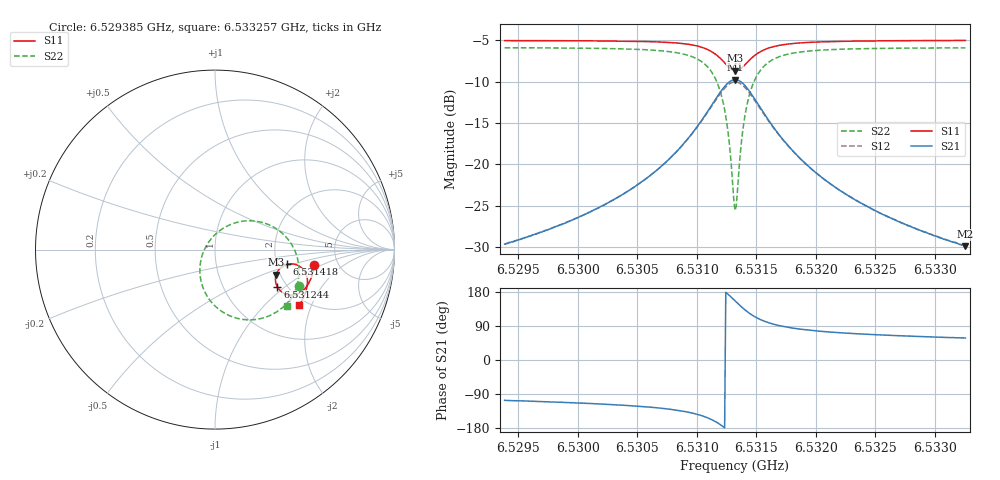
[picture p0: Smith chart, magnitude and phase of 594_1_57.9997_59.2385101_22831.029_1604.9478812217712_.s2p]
#  HZ  S  RI  R  50.00
! Rohde & Schwarz Vector Network Analyzer
! Rohde-Schwarz,ZNB20-2Port,1311601062101988,3.16
! Created: UTC 3/21/2024, 1:16:56 AM
! freq[Hz]  re:S11  im:S11  re:S21  im:S21  re:S12  im:S12  re:S22  im:S22
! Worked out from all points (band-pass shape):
!   401 points, 6.529385 GHz to 6.533257 GHz, reference 50 ohm
!   highest |S21| = -9.74 dB at 6.531321 GHz (marker M1); lowest = -29.9 dB at 6.533257 GHz (marker M2)
!   |S21| within 3 dB of the highest: 6.531129 GHz to 6.531516 GHz (386.4 kHz wide, 0.00592 % of centre)
!   lowest |S11| = -8.7 dB at 6.531321 GHz (marker M3), VSWR 2.17, Z = 95.3 - j30.7 ohm
!   |S11| at or under -10 dB: nowhere
!   |S22| runs from -25.6 to -5.9 dB; largest |S21 - S12| = 0.013
!   S11 on the Smith chart (normalised r, x): 6.529385 GHz: 3.32, -0.83; 6.531244 GHz: 1.78, -0.89; 6.531418 GHz: 2.28, -0.45; 6.533257 GHz: 1.83, -1.64
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6.5293852e9  0.5541 -0.0859  -0.0093 -0.0317  -0.0101 -0.0314  0.466 -0.2023
6.5300337e9  0.5415 -0.1404  -0.0198 -0.0448  -0.0209 -0.0442  0.4312 -0.2625
6.5304015e9  0.5284 -0.1753  -0.0335 -0.0586  -0.0351 -0.0579  0.3951 -0.3055
6.5306822e9  0.5105 -0.2063  -0.0567 -0.0759  -0.0589 -0.0743  0.3427 -0.3476
6.5309049e9  0.4815 -0.2351  -0.0993 -0.095  -0.1022 -0.0913  0.2569 -0.3839
6.5310791e9  0.431 -0.2531  -0.1777 -0.098  -0.1795 -0.0904  0.1141 -0.3802
6.5311759e9  0.3824 -0.2422  -0.2521 -0.0624  -0.2498 -0.0517  -0.00757 -0.3063
6.5312146e9  0.3612 -0.226  -0.2831 -0.028  -0.2777 -0.0171  -0.0531 -0.2427
6.5312437e9  0.3475 -0.2075  -0.3016 0.00782  -0.2935 0.018  -0.0769 -0.1796
6.5312727e9  0.3388 -0.1839  -0.3112 0.0516  -0.3007 0.0597  -0.0843 -0.106
6.5313114e9  0.3386 -0.148  -0.3041 0.1155  -0.2918 0.1196  -0.0605 -0.00299
6.5313211e9  0.3411 -0.139  -0.2984 0.1312  -0.2859 0.1341  -0.0482 0.0212
6.5313405e9  0.3487 -0.1221  -0.282 0.1601  -0.2702 0.161  -0.0169 0.0655
6.5313792e9  0.3725 -0.0958  -0.2366 0.2046  -0.2267 0.2022  0.0653 0.13
6.5314179e9  0.4018 -0.0819  -0.1839 0.2274  -0.1767 0.2235  0.1559 0.1583
6.5314857e9  0.4481 -0.0826  -0.1037 0.2269  -0.1002 0.2231  0.2898 0.1425
6.5315825e9  0.4877 -0.1067  -0.036 0.1913  -0.0343 0.1894  0.3983 0.0675
6.5317277e9  0.51 -0.1447  0.00375 0.1403  0.00503 0.1395  0.4557 -0.0346
6.5319697e9  0.5149 -0.1891  0.0196 0.0909  0.0208 0.0907  0.4676 -0.1365
6.5322697e9  0.5081 -0.2261  0.0215 0.0612  0.0225 0.0609  0.455 -0.2047
6.5326182e9  0.4962 -0.2587  0.0201 0.0434  0.0209 0.0431  0.4359 -0.2534
6.5332571e9  0.4707 -0.3073  0.017 0.0272  0.0176 0.027  0.4002 -0.3116
